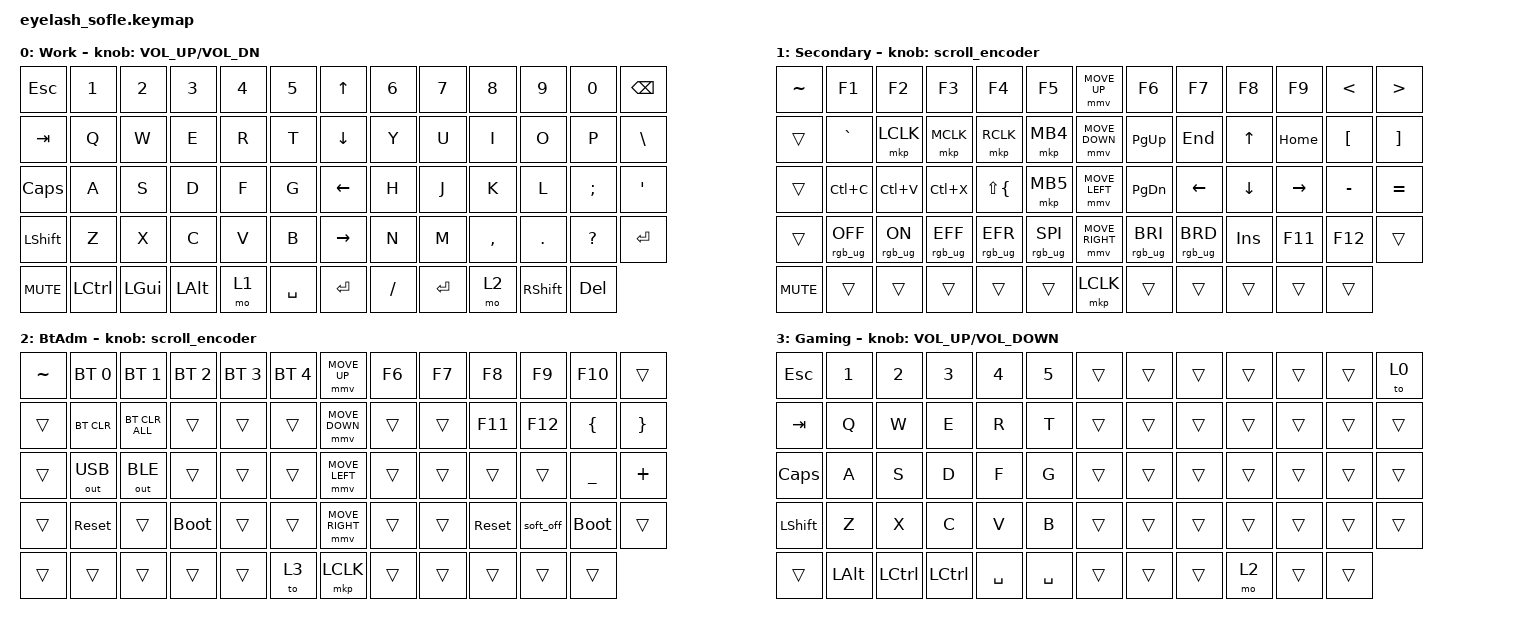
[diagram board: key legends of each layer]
#include <dt-bindings/zmk/mouse.h>
#include <input/processors.dtsi>
#include <behaviors.dtsi>
#include <dt-bindings/zmk/bt.h>
#include <dt-bindings/zmk/keys.h>
#include <dt-bindings/zmk/outputs.h>
#include <dt-bindings/zmk/pointing.h>
#include <dt-bindings/zmk/pointing.h>
#include <dt-bindings/zmk/pointing.h>
#include <dt-bindings/zmk/rgb.h>

/*

   &mmv_input_listener {
       input-processors = <&zip_xy_scaler 2 1>;
   };

   &msc_input_listener {
       input-processors = <&zip_xy_scaler 2 1>;
   };

 */

#define ZMK_MOUSE_DEFAULT_MOVE_VAL 1200  // 600
#define ZMK_MOUSE_DEFAULT_SCRL_VAL 20    // 10

/ {
    behaviors {
        mmv {
            acceleration-exponent = <1>;      // 1
            time-to-max-speed-ms = <900>;    // 40
            delay-ms = <0>;                   // 0
        };

        msc {
            acceleration-exponent = <1>;      // 0
            time-to-max-speed-ms = <400>;      // 500
            delay-ms = <0>;                   //   10
        };
    };

    scroll_encoder: scroll_encoder {
        compatible = "zmk,behavior-sensor-rotate";
        #sensor-binding-cells = <0>;
        bindings = <&msc SCRL_DOWN>, <&msc SCRL_UP>;

        tap-ms = <30>;
    };

    macros {
        ctrlc: ctrlc {
            compatible = "zmk,behavior-macro";
            #binding-cells = <0>;
            bindings = <&none>;
            label = "CTRLC";
        };
    };

    keymap {
        compatible = "zmk,keymap";

        layer0 {
            bindings = <
&kp ESC     &kp N1     &kp N2        &kp N3        &kp N4  &kp N5       &kp UP_ARROW     &kp N6     &kp N7     &kp N8     &kp N9           &kp N0        &kp BACKSPACE
&kp TAB     &kp Q      &kp W         &kp E         &kp R   &kp T        &kp DOWN_ARROW   &kp Y      &kp U      &kp I      &kp O            &kp P         &kp BSLH
&kp CAPS    &kp A      &kp S         &kp D         &kp F   &kp G        &kp LEFT_ARROW   &kp H      &kp J      &kp K      &kp L            &kp SEMI      &kp APOS
&kp LSHFT   &kp Z      &kp X         &kp C         &kp V   &kp B        &kp RIGHT_ARROW  &kp N      &kp M      &kp COMMA  &kp DOT          &kp QUESTION  &kp ENTER
&kp C_MUTE  &kp LCTRL  &kp LEFT_GUI  &kp LEFT_ALT  &mo 1   &kp SPACE    &kp ENTER        &kp SLASH  &kp ENTER  &mo 2      &kp RIGHT_SHIFT  &kp DELETE
            >;

            sensor-bindings = <&inc_dec_kp C_VOLUME_UP C_VOL_DN>;
            display-name = "Work";
        };

        layer_1 {
            bindings = <
&kp TILDE   &kp F1           &kp F2          &kp F3           &kp F4              &kp F5             &mmv MOVE_UP     &kp F6           &kp F7           &kp F8      &kp F9     &kp LESS_THAN     &kp GREATER_THAN
&trans      &kp GRAVE        &mkp LCLK       &mkp MCLK        &mkp RCLK           &mkp MB4           &mmv MOVE_DOWN   &kp PG_UP        &kp END          &kp UP      &kp HOME   &kp LEFT_BRACKET  &kp RIGHT_BRACKET
&trans      &kp LC(C)        &kp LC(V)       &kp LC(X)        &kp LS(LEFT_BRACE)  &mkp MB5           &mmv MOVE_LEFT   &kp PG_DN        &kp LEFT         &kp DOWN    &kp RIGHT  &kp MINUS         &kp EQUAL
&trans      &rgb_ug RGB_OFF  &rgb_ug RGB_ON  &rgb_ug RGB_EFF  &rgb_ug RGB_EFR     &rgb_ug RGB_SPI    &mmv MOVE_RIGHT  &rgb_ug RGB_BRI  &rgb_ug RGB_BRD  &kp INSERT  &kp F11    &kp F12           &trans
&kp C_MUTE  &trans           &trans          &trans           &trans              &trans             &mkp LCLK        &trans           &trans           &trans      &trans     &trans
            >;

            display-name = "Secondary";
            sensor-bindings = <&scroll_encoder>;
        };

        BtAdm {
            bindings = <
&kp TILDE  &bt BT_SEL 0  &bt BT_SEL 1    &bt BT_SEL 2  &bt BT_SEL 3  &bt BT_SEL 4    &mmv MOVE_UP     &kp F6  &kp F7  &kp F8      &kp F9     &kp F10         &trans
&trans     &bt BT_CLR    &bt BT_CLR_ALL  &trans        &trans        &trans          &mmv MOVE_DOWN   &trans  &trans  &kp F11     &kp F12    &kp LEFT_BRACE  &kp RIGHT_BRACE
&trans     &out OUT_USB  &out OUT_BLE    &trans        &trans        &trans          &mmv MOVE_LEFT   &trans  &trans  &trans      &trans     &kp UNDER       &kp PLUS
&trans     &sys_reset    &trans          &bootloader   &trans        &trans          &mmv MOVE_RIGHT  &trans  &trans  &sys_reset  &soft_off  &bootloader     &trans
&trans     &trans        &trans          &trans        &trans        &to 3           &mkp LCLK        &trans  &trans  &trans      &trans     &trans
            >;

            sensor-bindings = <&scroll_encoder>;
        };

        Gaming {
            bindings = <
&kp ESC    &kp N1        &kp N2            &kp N3            &kp N4     &kp N5       &trans  &trans  &trans  &trans  &trans  &trans  &to 0
&kp TAB    &kp Q         &kp W             &kp E             &kp R      &kp T        &trans  &trans  &trans  &trans  &trans  &trans  &trans
&kp CAPS   &kp A         &kp S             &kp D             &kp F      &kp G        &trans  &trans  &trans  &trans  &trans  &trans  &trans
&kp LSHFT  &kp Z         &kp X             &kp C             &kp V      &kp B        &trans  &trans  &trans  &trans  &trans  &trans  &trans
&trans     &kp LEFT_ALT  &kp LEFT_CONTROL  &kp LEFT_CONTROL  &kp SPACE  &kp SPACE    &trans  &trans  &trans  &mo 2   &trans  &trans
            >;

            sensor-bindings = <&inc_dec_kp C_VOLUME_UP C_VOLUME_DOWN>;
            label = "Gaming";
        };
    };
};
